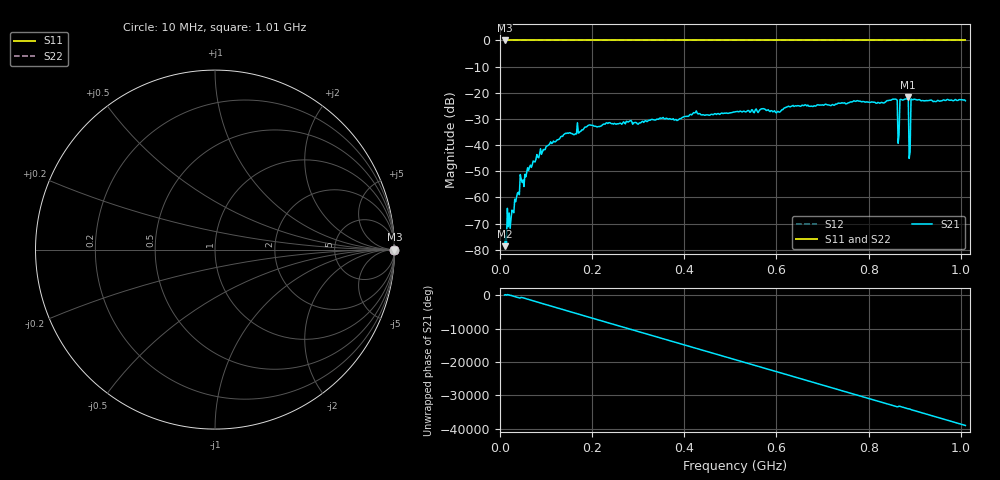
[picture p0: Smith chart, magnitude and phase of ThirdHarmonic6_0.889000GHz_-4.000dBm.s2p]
! 8/16/2025 5:13:26 AM
! C:\ANRITSUVNA\TEMP\TEMP.S2P
! CHANNEL.1
! TR.MEASUREMENT
! RAW.DATA
! RF.CORRECTION.OFF
! AVERAGING.OFF
! IF.BANDWIDTH: 5KHZ
! SWEEPTYPE:  FREQ.SWEEP(Linear)
! Reference Plane Port Info
! PORT:  PORT1  PORT2
! DISTANCE:  0  m  0  m
! TIME:  0  s  0  s
! PHASE.OFFSET:  0  deg.  0  deg.
! LOSS:  0  dB  0  dB
! REF.LOSS:  0  dB  0  dB
! REF.FREQ:  0  Hz  0  Hz
! Power Info
! POWER:  -20  dBm  -20  dBm
! EFF.POWER:  -20  dBm  -20  dBm
! SOURCE.ATTEN:  0  dB  0  dB
! TEST.ATTEN:  0  dB  0  dB
# GHZ S RI R 50.0
! FREQ.GHZ  S11RE  S11IM  S21RE  S21IM  S12RE  S12IM  S22RE  S22IM
!; PortSelection: Port_12
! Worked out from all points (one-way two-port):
!   501 points, 10 MHz to 1.01 GHz, reference 50 ohm
!   highest |S21| = -21.79 dB at 886 MHz (marker M1); lowest = -78.6 dB at 10 MHz (marker M2)
!   lowest |S11| = 0.0 dB at 10 MHz (marker M3)
!   |S11| at or under -10 dB: nowhere
!   |S22| runs from 0.0 to 0.0 dB; largest |S21 - S12| = 1.1
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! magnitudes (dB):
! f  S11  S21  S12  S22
! 10 MHz  0.0  -78.6  0.0  0.0
! 16 MHz  0.0  -64.2  0.0  0.0
! 26 MHz  0.0  -64.9  0.0  0.0
! 42 MHz  0.0  -58.9  0.0  0.0
! 62 MHz  0.0  -49.6  0.0  0.0
! 106 MHz  0.0  -39.9  0.0  0.0
! 178 MHz  0.0  -34.1  0.0  0.0
! 194 MHz  0.0  -32.3  0.0  0.0
! 344 MHz  0.0  -30.1  0.0  0.0
! 510 MHz  0.0  -27.3  0.0  0.0
! 678 MHz  0.0  -25.2  0.0  0.0
! 844 MHz  0.0  -22.9  0.0  0.0
! 858 MHz  0.0  -22.4  0.0  0.0
! 862 MHz  0.0  -22.9  0.0  0.0
! 866 MHz  0.0  -35.8  0.0  0.0
! 868 MHz  0.0  -22.6  0.0  0.0
! 872 MHz  0.0  -22.6  0.0  0.0
! 882 MHz  0.0  -22.3  0.0  0.0
! 886 MHz  0.0  -21.8  0.0  0.0
! 892 MHz  0.0  -22.3  0.0  0.0
! 896 MHz  0.0  -22.7  0.0  0.0
! 1.01 GHz  0.0  -23.1  0.0  0.0
